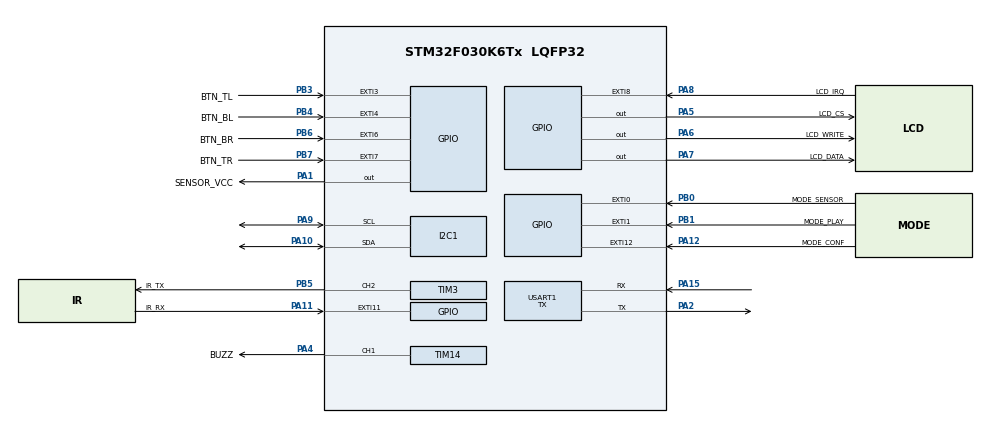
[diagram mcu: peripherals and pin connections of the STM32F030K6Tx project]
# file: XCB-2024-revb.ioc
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Mcu.Family=STM32F0
Mcu.Name=STM32F030K6Tx
Mcu.Package=LQFP32
NVIC.EXTI0_1_IRQn=true\:0\:0\:false\:false\:true\:true\:true\:true
NVIC.EXTI2_3_IRQn=true\:0\:0\:false\:false\:true\:true\:true\:true
NVIC.EXTI4_15_IRQn=true\:0\:0\:false\:false\:true\:true\:true\:true
NVIC.TIM16_IRQn=true\:0\:0\:false\:false\:true\:true\:true\:true
NVIC.TIM17_IRQn=true\:0\:0\:false\:false\:true\:true\:true\:true
PA1.GPIO_Label=SENSOR_VCC
PA1.Signal=GPIO_Output
PA10.Mode=I2C
PA10.Signal=I2C1_SDA
PA11.GPIO_Label=IR_RX
PA11.GPIO_ModeDefaultEXTI=GPIO_MODE_IT_RISING
PA11.GPIO_PuPd=GPIO_NOPULL
PA11.Signal=GPXTI11
PA12.GPIO_Label=MODE_CONF
PA12.GPIO_ModeDefaultEXTI=GPIO_MODE_IT_FALLING
PA12.GPIO_PuPd=GPIO_PULLUP
PA12.Signal=GPXTI12
PA13.Mode=Serial_Wire
PA13.Signal=SYS_SWDIO
PA14.Mode=Serial_Wire
PA14.Signal=SYS_SWCLK
PA15.Mode=Asynchronous
PA15.Signal=USART1_RX
PA2.Mode=Asynchronous
PA2.Signal=USART1_TX
PA4.GPIO_Label=BUZZ
PA4.Signal=S_TIM14_CH1
PA5.GPIO_Label=LCD_CS
PA5.Signal=GPIO_Output
PA6.GPIO_Label=LCD_WRITE
PA6.Signal=GPIO_Output
PA7.GPIO_Label=LCD_DATA
PA7.Signal=GPIO_Output
PA8.GPIO_Label=LCD_IRQ
PA8.GPIO_ModeDefaultEXTI=GPIO_MODE_IT_FALLING
PA8.GPIO_PuPd=GPIO_PULLUP
PA8.Signal=GPXTI8
PA9.Mode=I2C
PA9.Signal=I2C1_SCL
PB0.GPIO_Label=MODE_SENSOR
PB0.GPIO_ModeDefaultEXTI=GPIO_MODE_IT_FALLING
PB0.GPIO_PuPd=GPIO_PULLUP
PB0.Signal=GPXTI0
PB1.GPIO_Label=MODE_PLAY
PB1.GPIO_ModeDefaultEXTI=GPIO_MODE_IT_FALLING
PB1.GPIO_PuPd=GPIO_PULLUP
PB1.Signal=GPXTI1
PB3.GPIO_Label=BTN_TL
PB3.GPIO_ModeDefaultEXTI=GPIO_MODE_IT_FALLING
PB3.GPIO_PuPd=GPIO_PULLUP
PB3.Signal=GPXTI3
PB4.GPIO_Label=BTN_BL
PB4.GPIO_ModeDefaultEXTI=GPIO_MODE_IT_FALLING
PB4.GPIO_PuPd=GPIO_PULLUP
PB4.Signal=GPXTI4
PB5.GPIO_Label=IR_TX
PB5.Signal=S_TIM3_CH2
PB6.GPIO_Label=BTN_BR
PB6.GPIO_ModeDefaultEXTI=GPIO_MODE_IT_FALLING
PB6.GPIO_PuPd=GPIO_PULLUP
PB6.Signal=GPXTI6
PB7.GPIO_Label=BTN_TR
PB7.GPIO_ModeDefaultEXTI=GPIO_MODE_IT_FALLING
PB7.GPIO_PuPd=GPIO_PULLUP
PB7.Signal=GPXTI7
ProjectManager.HeapSize=0x200
ProjectManager.StackSize=0x400
ProjectManager.TargetToolchain=STM32CubeIDE
SH.S_TIM14_CH1.0=TIM14_CH1,PWM Generation1 CH1
SH.S_TIM3_CH2.0=TIM3_CH2,PWM Generation2 CH2
TIM14.AutoReloadPreload=TIM_AUTORELOAD_PRELOAD_ENABLE
TIM14.Channel=TIM_CHANNEL_1
TIM16.AutoReloadPreload=TIM_AUTORELOAD_PRELOAD_ENABLE
TIM16.Period=4800
TIM17.AutoReloadPreload=TIM_AUTORELOAD_PRELOAD_ENABLE
TIM17.Period=4800
TIM3.AutoReloadPreload=TIM_AUTORELOAD_PRELOAD_ENABLE
TIM3.Channel-PWM\ Generation2\ CH2=TIM_CHANNEL_2
TIM3.Period=209
TIM3.Pulse-PWM\ Generation2\ CH2=0
USART1.Mode=MODE_TX
USART1.SwapParam=ADVFEATURE_SWAP_ENABLE
USART1.VirtualMode-Asynchronous=VM_ASYNC
VP_TIM14_VS_ClockSourceINT.Mode=Enable_Timer
VP_TIM16_VS_ClockSourceINT.Mode=Enable_Timer
VP_TIM17_VS_ClockSourceINT.Mode=Enable_Timer
board=custom

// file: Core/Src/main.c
/* USER CODE BEGIN Header */
/**
 ******************************************************************************
 * @file           : main.c
 * @brief          : Main program body
 ******************************************************************************
 * @attention
 *
 * Copyright (c) 2024 STMicroelectronics.
 * All rights reserved.
 *
 * This software is licensed under terms that can be found in the LICENSE file
 * in the root directory of this software component.
 * If no LICENSE file comes with this software, it is provided AS-IS.
 *
 ******************************************************************************
 */
/* USER CODE END Header */
#include "main.h"

/* USER CODE BEGIN Includes */

#include "dev_buzz.h"
#include "dev_eeprom.h"
#include "dev_lcd.h"

#include "mode_conf.h"
#include "mode_play.h"
#include "mode_sensor.h"

/* USER CODE END Includes */

/* USER CODE BEGIN PTD */

typedef enum {
	MODE_INIT, MODE_CONF, MODE_PLAY, MODE_SENSOR
} mode_t;

/* USER CODE END PTD */

/* USER CODE BEGIN PD */

static volatile bool tick = false;
static volatile uint16_t irq_state = 0;

static volatile bool mode_switch = true;
static mode_t mode = MODE_INIT;
static mode_t modeNext = MODE_CONF;

/* USER CODE END PD */

I2C_HandleTypeDef hi2c1;

TIM_HandleTypeDef htim3;
TIM_HandleTypeDef htim14;
TIM_HandleTypeDef htim16;
TIM_HandleTypeDef htim17;

UART_HandleTypeDef huart1;

void SystemClock_Config(void);
static void MX_GPIO_Init(void);
static void MX_I2C1_Init(void);
static void MX_TIM3_Init(void);
static void MX_TIM14_Init(void);
static void MX_TIM16_Init(void);
static void MX_TIM17_Init(void);
static void MX_USART1_UART_Init(void);
/* USER CODE BEGIN PFP */

#if defined(DEBUG)
#define PUTCHAR_PROTOTYPE int __io_putchar(int ch)
#endif

/* USER CODE END PFP */

/* USER CODE BEGIN 0 */

#if defined(DEBUG)
PUTCHAR_PROTOTYPE {
	HAL_UART_Transmit(&huart1, (uint8_t*) &ch, 1, 0xFFFF);
	return ch;
}
#endif

void modeCheck() {
	if (!mode_switch) {
		return;
	}
	HAL_Delay(300);

	uint8_t next = 0xFF;
	uint8_t match = 0;
	if (!HAL_GPIO_ReadPin(MODE_CONF_GPIO_Port, MODE_CONF_Pin)) {
		next = MODE_CONF;
		match++;
	}

	if (!HAL_GPIO_ReadPin(MODE_PLAY_GPIO_Port, MODE_PLAY_Pin)) {
		next = MODE_PLAY;
		match++;
	}
	if (!HAL_GPIO_ReadPin(MODE_SENSOR_GPIO_Port, MODE_SENSOR_Pin)) {
		next = MODE_SENSOR;
		match++;
	}

	if (match == 1) {
		modeNext = next;
		mode_switch = false;
	}
}

void modeChange() {
#if defined(DEBUG)
	printf("M: Mode change: %d --> %d\n", mode, modeNext);
#endif

#if defined(DEBUG)
	printf("M: Mode stop: %d\n", mode);
#endif

	if (mode == MODE_CONF) {
		confStop();
	}
	if (mode == MODE_PLAY) {
		playStop();
	}
	if (mode == MODE_SENSOR) {
		sensorStop();
	}

	lcdShow(0);
	mode = modeNext;

#if defined(DEBUG)
	printf("M: Mode start: %d\n", mode);
#endif

	if (mode == MODE_CONF) {
		lcdShow(lcdChar(0x35)); // CON
		HAL_Delay(1000);
		confStart();
	}
	if (mode == MODE_PLAY) {
		lcdShow(lcdChar(0x36)); // PLY
		HAL_Delay(1000);
		playStart();
	}
	if (mode == MODE_SENSOR) {
		lcdShow(lcdChar(0x37)); // SEN
		HAL_Delay(1000);
		sensorStart();
	}
}

void modeTick() {
//#if defined(DEBUG)
//	printf("M: Mode tick: %d\n", mode);
//#endif

	if (mode == MODE_CONF) {
		confTick();
	}
	if (mode == MODE_PLAY) {
		playTick();
	}
	if (mode == MODE_SENSOR) {
		sensorTick();
	}
}

void buttonClear() {
	irq_state &= ~BTN_TL_Pin;
	irq_state &= ~BTN_TR_Pin;
	irq_state &= ~BTN_BR_Pin;
	irq_state &= ~BTN_BL_Pin;
}

void buttonCheck() {
	uint8_t btn = 0;

	if (irq_state & BTN_TL_Pin) {
		irq_state &= ~BTN_TL_Pin;
		btn |= (1 << 0);
	}
	if (irq_state & BTN_TR_Pin) {
		irq_state &= ~BTN_TR_Pin;
		btn |= (1 << 1);
	}
	if (irq_state & BTN_BR_Pin) {
		irq_state &= ~BTN_BR_Pin;
		btn |= (1 << 2);
	}
	if (irq_state & BTN_BL_Pin) {
		irq_state &= ~BTN_BL_Pin;
		btn |= (1 << 3);
	}

	while (btn > 0) {
		for (uint8_t i = 0; i < 4; i++) {

			if (btn & (1 << i)) {
				btn &= ~(1 << i);
#if defined(DEBUG)
				printf("M: Button: %d\n", i);
#endif

				if (mode == MODE_CONF) {
					confButton(i);
				}
				if (mode == MODE_PLAY) {
					playButton(i);
				}
				if (mode == MODE_SENSOR) {
					sensorButton(i);
				}
			}
		}
	}
}

void HAL_GPIO_EXTI_Callback(uint16_t pin) {
	irq_state |= pin;

	if ((pin & MODE_CONF_Pin) | (pin & MODE_PLAY_Pin) | (pin & MODE_SENSOR_Pin)) {
		mode_switch = true;
	}

	if (pin & LCD_IRQ_Pin) {
		tick = true;
	}

	if (pin & IR_RX_Pin) {
		if (mode == MODE_CONF) {
			confIRRX_gpio_dec();
		}
	}
}

void HAL_TIM_PeriodElapsedCallback(TIM_HandleTypeDef *htim) {
	if (htim == &htim16) {
		confIRTX_htim_enc();
	}

	if (htim == &htim17) {
		confIRRX_htim_dec();
	}
}

badge_t badgeTypeCheck(uint8_t id) {
	if (id >= ID_UNLOCK_START && id <= ID_UNLOCK_END) {
		return BADGE_PARTICIPANT;
	}
	if (id >= ID_TREASURE_START && id <= ID_TREASURE_END) {
		return BADGE_TREASURE;
	}
	return BADGE_OTHER;
}

/* USER CODE END 0 */

int main(void) {

	/* MCU Configuration--------------------------------------------------------*/

	/* Reset of all peripherals, Initializes the Flash interface and the Systick. */
	HAL_Init();

	/* Configure the system clock */
	SystemClock_Config();

	/* Initialize all configured peripherals */
	MX_GPIO_Init();
	MX_I2C1_Init();
	MX_TIM3_Init();
	MX_TIM14_Init();
	MX_TIM16_Init();
	MX_TIM17_Init();
	MX_USART1_UART_Init();
	/* USER CODE BEGIN 2 */

#if defined(DEBUG)
	printf("\n");
	printf("https://github.com/kiu/xcb-2024\n");
	printf("M: Firmware: 0x%02X\n", FIRMWARE);
#endif

	eeInit();

	badge_t badge = badgeTypeCheck(eeIDGet());
#if defined(DEBUG)
	printf("M: Badge Type: %d\n", badge);
#endif

	lcdInit();

	uint32_t lcd = 0;

	lcd = 0;
	lcd |= lcdChar(0x2F); // Fxx
	lcd |= lcdDigits_2(16, FIRMWARE, 0, 0, 0);
	lcdShow(lcd);
	buzzInit(htim14);
	HAL_Delay(1200);

	lcd = 0;
	lcd |= lcdChar(0x39); // Uxx
	lcd |= lcdDigits_2(16, eeIDGet(), 0, 0, 0);
	lcdShow(lcd);
	HAL_Delay(1200);

	sensorInit(hi2c1);

	confInit(htim3, htim16, htim17);

	if (badge != BADGE_PARTICIPANT) {
		modeNext = MODE_CONF;
		modeChange();
	}

	/* USER CODE END 2 */

	/* Infinite loop */
	while (1) {

		/* USER CODE BEGIN 3 */
		if (badge == BADGE_PARTICIPANT) {
			buttonCheck();
			modeCheck();
			if (mode != modeNext) {
				modeChange();
			}
		}

		if (tick) {
			tick = false;
			modeTick();
		}

#if !defined(DEBUG)
		if (confAllowSleep()) {
			HAL_PWR_EnterSTOPMode(PWR_LOWPOWERREGULATOR_ON, PWR_STOPENTRY_WFI);
		}
#endif

	}

	return 0;

	/* USER CODE END 3 */
}

void SystemClock_Config(void) {
	RCC_OscInitTypeDef RCC_OscInitStruct = { 0 };
	RCC_ClkInitTypeDef RCC_ClkInitStruct = { 0 };
	RCC_PeriphCLKInitTypeDef PeriphClkInit = { 0 };

	/** Initializes the RCC Oscillators according to the specified parameters
	 * in the RCC_OscInitTypeDef structure.
	 */
	RCC_OscInitStruct.OscillatorType = RCC_OSCILLATORTYPE_HSI;
	RCC_OscInitStruct.HSIState = RCC_HSI_ON;
	RCC_OscInitStruct.HSICalibrationValue = RCC_HSICALIBRATION_DEFAULT;
	RCC_OscInitStruct.PLL.PLLState = RCC_PLL_NONE;
	if (HAL_RCC_OscConfig(&RCC_OscInitStruct) != HAL_OK) {
		Error_Handler();
	}

	/** Initializes the CPU, AHB and APB buses clocks
	 */
	RCC_ClkInitStruct.ClockType = RCC_CLOCKTYPE_HCLK | RCC_CLOCKTYPE_SYSCLK | RCC_CLOCKTYPE_PCLK1;
	RCC_ClkInitStruct.SYSCLKSource = RCC_SYSCLKSOURCE_HSI;
	RCC_ClkInitStruct.AHBCLKDivider = RCC_SYSCLK_DIV1;
	RCC_ClkInitStruct.APB1CLKDivider = RCC_HCLK_DIV1;

	if (HAL_RCC_ClockConfig(&RCC_ClkInitStruct, FLASH_LATENCY_0) != HAL_OK) {
		Error_Handler();
	}
	PeriphClkInit.PeriphClockSelection = RCC_PERIPHCLK_USART1 | RCC_PERIPHCLK_I2C1;
	PeriphClkInit.Usart1ClockSelection = RCC_USART1CLKSOURCE_PCLK1;
	PeriphClkInit.I2c1ClockSelection = RCC_I2C1CLKSOURCE_HSI;
	if (HAL_RCCEx_PeriphCLKConfig(&PeriphClkInit) != HAL_OK) {
		Error_Handler();
	}
}

static void MX_I2C1_Init(void) {

	hi2c1.Instance = I2C1;
	hi2c1.Init.Timing = 0x2000090E;
	hi2c1.Init.OwnAddress1 = 0;
	hi2c1.Init.AddressingMode = I2C_ADDRESSINGMODE_7BIT;
	hi2c1.Init.DualAddressMode = I2C_DUALADDRESS_DISABLE;
	hi2c1.Init.OwnAddress2 = 0;
	hi2c1.Init.OwnAddress2Masks = I2C_OA2_NOMASK;
	hi2c1.Init.GeneralCallMode = I2C_GENERALCALL_DISABLE;
	hi2c1.Init.NoStretchMode = I2C_NOSTRETCH_DISABLE;
	if (HAL_I2C_Init(&hi2c1) != HAL_OK) {
		Error_Handler();
	}

	/** Configure Analogue filter
	 */
	if (HAL_I2CEx_ConfigAnalogFilter(&hi2c1, I2C_ANALOGFILTER_ENABLE) != HAL_OK) {
		Error_Handler();
	}

	/** Configure Digital filter
	 */
	if (HAL_I2CEx_ConfigDigitalFilter(&hi2c1, 0) != HAL_OK) {
		Error_Handler();
	}

}

static void MX_TIM3_Init(void) {

	TIM_MasterConfigTypeDef sMasterConfig = { 0 };
	TIM_OC_InitTypeDef sConfigOC = { 0 };

	htim3.Instance = TIM3;
	htim3.Init.Prescaler = 0;
	htim3.Init.CounterMode = TIM_COUNTERMODE_UP;
	htim3.Init.Period = 209;
	htim3.Init.ClockDivision = TIM_CLOCKDIVISION_DIV1;
	htim3.Init.AutoReloadPreload = TIM_AUTORELOAD_PRELOAD_ENABLE;
	if (HAL_TIM_PWM_Init(&htim3) != HAL_OK) {
		Error_Handler();
	}
	sMasterConfig.MasterOutputTrigger = TIM_TRGO_RESET;
	sMasterConfig.MasterSlaveMode = TIM_MASTERSLAVEMODE_DISABLE;
	if (HAL_TIMEx_MasterConfigSynchronization(&htim3, &sMasterConfig) != HAL_OK) {
		Error_Handler();
	}
	sConfigOC.OCMode = TIM_OCMODE_PWM1;
	sConfigOC.Pulse = 0;
	sConfigOC.OCPolarity = TIM_OCPOLARITY_HIGH;
	sConfigOC.OCFastMode = TIM_OCFAST_DISABLE;
	if (HAL_TIM_PWM_ConfigChannel(&htim3, &sConfigOC, TIM_CHANNEL_2) != HAL_OK) {
		Error_Handler();
	}
	HAL_TIM_MspPostInit(&htim3);

}

static void MX_TIM14_Init(void) {

	TIM_OC_InitTypeDef sConfigOC = { 0 };

	htim14.Instance = TIM14;
	htim14.Init.Prescaler = 0;
	htim14.Init.CounterMode = TIM_COUNTERMODE_UP;
	htim14.Init.Period = 65535;
	htim14.Init.ClockDivision = TIM_CLOCKDIVISION_DIV1;
	htim14.Init.AutoReloadPreload = TIM_AUTORELOAD_PRELOAD_ENABLE;
	if (HAL_TIM_Base_Init(&htim14) != HAL_OK) {
		Error_Handler();
	}
	if (HAL_TIM_PWM_Init(&htim14) != HAL_OK) {
		Error_Handler();
	}
	sConfigOC.OCMode = TIM_OCMODE_PWM1;
	sConfigOC.Pulse = 0;
	sConfigOC.OCPolarity = TIM_OCPOLARITY_HIGH;
	sConfigOC.OCFastMode = TIM_OCFAST_DISABLE;
	if (HAL_TIM_PWM_ConfigChannel(&htim14, &sConfigOC, TIM_CHANNEL_1) != HAL_OK) {
		Error_Handler();
	}
	HAL_TIM_MspPostInit(&htim14);

}

static void MX_TIM16_Init(void) {

	htim16.Instance = TIM16;
	htim16.Init.Prescaler = 0;
	htim16.Init.CounterMode = TIM_COUNTERMODE_UP;
	htim16.Init.Period = 4800;
	htim16.Init.ClockDivision = TIM_CLOCKDIVISION_DIV1;
	htim16.Init.RepetitionCounter = 0;
	htim16.Init.AutoReloadPreload = TIM_AUTORELOAD_PRELOAD_ENABLE;
	if (HAL_TIM_Base_Init(&htim16) != HAL_OK) {
		Error_Handler();
	}

}

static void MX_TIM17_Init(void) {

	htim17.Instance = TIM17;
	htim17.Init.Prescaler = 0;
	htim17.Init.CounterMode = TIM_COUNTERMODE_UP;
	htim17.Init.Period = 4800;
	htim17.Init.ClockDivision = TIM_CLOCKDIVISION_DIV1;
	htim17.Init.RepetitionCounter = 0;
	htim17.Init.AutoReloadPreload = TIM_AUTORELOAD_PRELOAD_ENABLE;
	if (HAL_TIM_Base_Init(&htim17) != HAL_OK) {
		Error_Handler();
	}

}

static void MX_USART1_UART_Init(void) {

	huart1.Instance = USART1;
	huart1.Init.BaudRate = 38400;
	huart1.Init.WordLength = UART_WORDLENGTH_8B;
	huart1.Init.StopBits = UART_STOPBITS_1;
	huart1.Init.Parity = UART_PARITY_NONE;
	huart1.Init.Mode = UART_MODE_TX;
	huart1.Init.HwFlowCtl = UART_HWCONTROL_NONE;
	huart1.Init.OverSampling = UART_OVERSAMPLING_16;
	huart1.Init.OneBitSampling = UART_ONE_BIT_SAMPLE_DISABLE;
	huart1.AdvancedInit.AdvFeatureInit = UART_ADVFEATURE_SWAP_INIT;
	huart1.AdvancedInit.Swap = UART_ADVFEATURE_SWAP_ENABLE;
	if (HAL_UART_Init(&huart1) != HAL_OK) {
		Error_Handler();
	}

}

static void MX_GPIO_Init(void) {
	GPIO_InitTypeDef GPIO_InitStruct = { 0 };

	/* GPIO Ports Clock Enable */
	__HAL_RCC_GPIOF_CLK_ENABLE();
	__HAL_RCC_GPIOA_CLK_ENABLE();
	__HAL_RCC_GPIOB_CLK_ENABLE();

	/*Configure GPIO pin Output Level */
	HAL_GPIO_WritePin(GPIOA, SENSOR_VCC_Pin | LCD_CS_Pin | LCD_WRITE_Pin | LCD_DATA_Pin, GPIO_PIN_RESET);

	/*Configure GPIO pins : PF0 PF1 */
	GPIO_InitStruct.Pin = GPIO_PIN_0 | GPIO_PIN_1;
	GPIO_InitStruct.Mode = GPIO_MODE_ANALOG;
	GPIO_InitStruct.Pull = GPIO_NOPULL;
	HAL_GPIO_Init(GPIOF, &GPIO_InitStruct);

	/*Configure GPIO pins : PA0 PA3 */
	GPIO_InitStruct.Pin = GPIO_PIN_0 | GPIO_PIN_3;
	GPIO_InitStruct.Mode = GPIO_MODE_ANALOG;
	GPIO_InitStruct.Pull = GPIO_NOPULL;
	HAL_GPIO_Init(GPIOA, &GPIO_InitStruct);

	/*Configure GPIO pins : SENSOR_VCC_Pin LCD_CS_Pin LCD_WRITE_Pin LCD_DATA_Pin */
	GPIO_InitStruct.Pin = SENSOR_VCC_Pin | LCD_CS_Pin | LCD_WRITE_Pin | LCD_DATA_Pin;
	GPIO_InitStruct.Mode = GPIO_MODE_OUTPUT_PP;
	GPIO_InitStruct.Pull = GPIO_NOPULL;
	GPIO_InitStruct.Speed = GPIO_SPEED_FREQ_LOW;
	HAL_GPIO_Init(GPIOA, &GPIO_InitStruct);

	/*Configure GPIO pins : MODE_SENSOR_Pin MODE_PLAY_Pin BTN_TL_Pin BTN_BL_Pin
	 BTN_BR_Pin BTN_TR_Pin */
	GPIO_InitStruct.Pin = MODE_SENSOR_Pin | MODE_PLAY_Pin | BTN_TL_Pin | BTN_BL_Pin | BTN_BR_Pin | BTN_TR_Pin;
	GPIO_InitStruct.Mode = GPIO_MODE_IT_FALLING;
	GPIO_InitStruct.Pull = GPIO_PULLUP;
	HAL_GPIO_Init(GPIOB, &GPIO_InitStruct);

	/*Configure GPIO pins : LCD_IRQ_Pin MODE_CONF_Pin */
	GPIO_InitStruct.Pin = LCD_IRQ_Pin | MODE_CONF_Pin;
	GPIO_InitStruct.Mode = GPIO_MODE_IT_FALLING;
	GPIO_InitStruct.Pull = GPIO_PULLUP;
	HAL_GPIO_Init(GPIOA, &GPIO_InitStruct);

	/*Configure GPIO pin : IR_RX_Pin */
	GPIO_InitStruct.Pin = IR_RX_Pin;
	GPIO_InitStruct.Mode = GPIO_MODE_IT_RISING;
	GPIO_InitStruct.Pull = GPIO_NOPULL;
	HAL_GPIO_Init(IR_RX_GPIO_Port, &GPIO_InitStruct);

	/* EXTI interrupt init*/
	HAL_NVIC_SetPriority(EXTI0_1_IRQn, 0, 0);
	HAL_NVIC_EnableIRQ(EXTI0_1_IRQn);

	HAL_NVIC_SetPriority(EXTI2_3_IRQn, 0, 0);
	HAL_NVIC_EnableIRQ(EXTI2_3_IRQn);

	HAL_NVIC_SetPriority(EXTI4_15_IRQn, 0, 0);
	HAL_NVIC_EnableIRQ(EXTI4_15_IRQn);

}

void Error_Handler(void) {
	__disable_irq();
	while (1) {
	}
}
